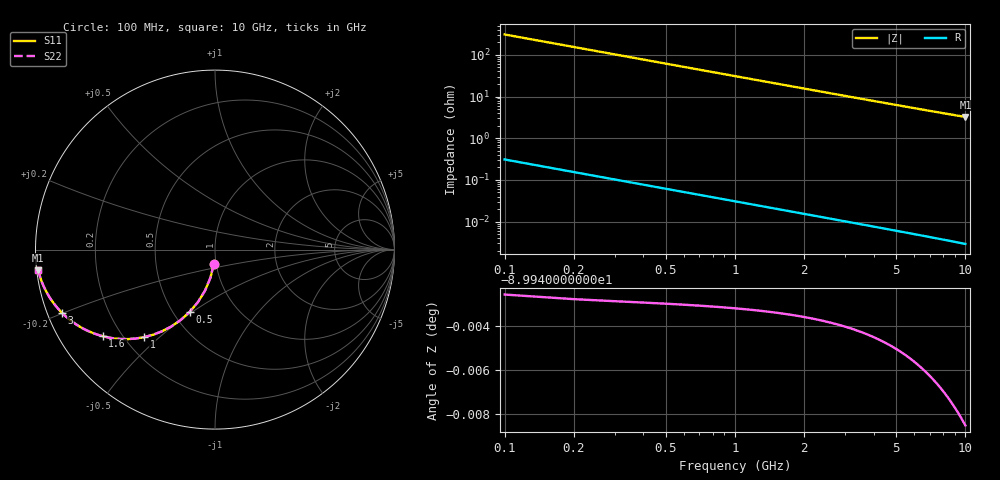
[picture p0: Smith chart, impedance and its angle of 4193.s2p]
# Hz S RI R 50.00
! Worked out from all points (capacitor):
!   100 points, 100 MHz to 10 GHz, reference 50 ohm
!   read as one part in shunt: C = 5.15 pF near 100 MHz
!   lowest |Z| = 3.24 ohm at 10 GHz (marker M1)
!   S11 on the Smith chart (normalised r, x): 100 MHz: 0.97, -0.16; 500 MHz: 0.60, -0.49; 1 GHz: 0.28, -0.45; 1.6 GHz: 0.13, -0.34; 3 GHz: 0.04, -0.20; 10 GHz: 0.00, -0.06
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1e8  -0.00658 -0.0804  0.9934 -0.0805  0.9934 -0.0805  -0.00658 -0.0804
2e8  -0.0257 -0.1576  0.9743 -0.1578  0.9743 -0.1578  -0.0257 -0.1576
3e8  -0.0559 -0.229  0.9441 -0.2294  0.9441 -0.2294  -0.0559 -0.229
4e8  -0.0951 -0.2926  0.9049 -0.2931  0.9049 -0.2931  -0.0951 -0.2926
5e8  -0.1409 -0.3472  0.8591 -0.3477  0.8591 -0.3477  -0.1409 -0.3472
6e8  -0.1909 -0.3922  0.809 -0.3929  0.809 -0.3929  -0.1909 -0.3922
7e8  -0.243 -0.428  0.757 -0.4288  0.757 -0.4288  -0.243 -0.428
8e8  -0.2953 -0.4552  0.7047 -0.4561  0.7047 -0.4561  -0.2953 -0.4552
1e9  -0.3953 -0.4878  0.6047 -0.489  0.6047 -0.489  -0.3953 -0.4878
1.3e9  -0.5245 -0.4982  0.4755 -0.4996  0.4755 -0.4996  -0.5245 -0.4982
1.6e9  -0.6251 -0.4827  0.3748 -0.4845  0.3748 -0.4845  -0.6251 -0.4827
1.8e9  -0.6783 -0.4656  0.3217 -0.4677  0.3217 -0.4677  -0.6783 -0.4656
2e9  -0.7222 -0.4462  0.2778 -0.4486  0.2778 -0.4486  -0.7222 -0.4462
2.3e9  -0.7744 -0.4161  0.2255 -0.4188  0.2255 -0.4188  -0.7744 -0.4161
2.6e9  -0.8142 -0.387  0.1858 -0.39  0.1858 -0.39  -0.8142 -0.387
3e9  -0.8534 -0.3514  0.1465 -0.3549  0.1465 -0.3549  -0.8534 -0.3514
3.4e9  -0.8819 -0.3202  0.1181 -0.3242  0.1181 -0.3242  -0.8819 -0.3202
4.2e9  -0.9192 -0.2696  0.0808 -0.2745  0.0808 -0.2745  -0.9192 -0.2696
5.1e9  -0.9436 -0.2271  0.0563 -0.2331  0.0563 -0.2331  -0.9436 -0.2271
6.7e9  -0.9665 -0.1753  0.0334 -0.1833  0.0334 -0.1833  -0.9665 -0.1753
8.4e9  -0.9785 -0.1394  0.0214 -0.1495  0.0214 -0.1495  -0.9785 -0.1394
1e10  -0.9848 -0.1156  0.0151 -0.1277  0.0151 -0.1277  -0.9848 -0.1156
